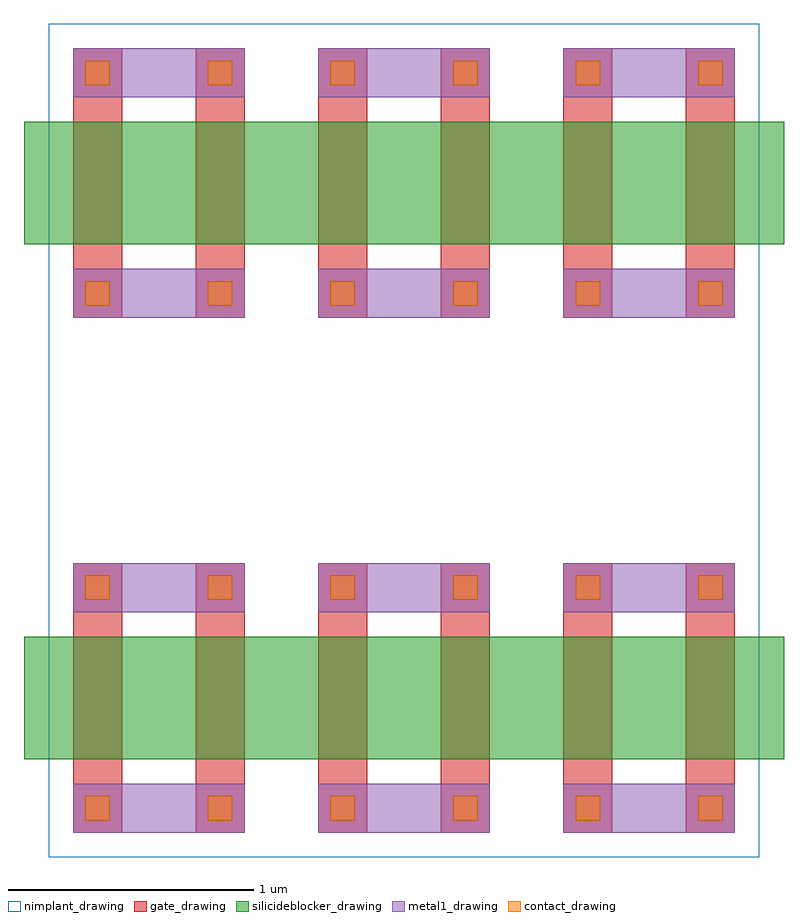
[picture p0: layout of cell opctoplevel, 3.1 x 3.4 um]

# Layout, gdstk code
import gdstk
lib = gdstk.Library(unit=1e-6, precision=1e-09)
def R(c, l, rs):  # rectangles x0, y0, x1, y1
    for r in rs: c.add(gdstk.rectangle(r[:2], r[2:], *l))
def A(c, l, x, y, w, h, nx, ny, dx, dy):  # array of equal rectangles
    R(c, l, [(x+i*dx, y+j*dy, x+i*dx+w, y+j*dy+h) for i in range(nx) for j in range(ny)])
nimplant_drawing = (5, 0)
gate_drawing = (6, 0)
contact_drawing = (7, 0)
metal1_drawing = (8, 0)
silicideblocker_drawing = (28, 0)

opctoplevel = lib.new_cell('opctoplevel')
R(opctoplevel, nimplant_drawing, [(-0.1,-0.1,2.8,3.3)])
A(opctoplevel, gate_drawing, 0, 0, 0.2, 1.1, 6, 2, 0.5, 2.1)
A(opctoplevel, gate_drawing, 0, 0, 0.2, 0.2, 6, 2, 0.5, 0.9)
A(opctoplevel, gate_drawing, 0, 2.1, 0.2, 0.2, 6, 2, 0.5, 0.9)
A(opctoplevel, contact_drawing, 0.05, 0.05, 0.1, 0.1, 6, 2, 0.5, 0.9)
A(opctoplevel, contact_drawing, 0.05, 2.15, 0.1, 0.1, 6, 2, 0.5, 0.9)
A(opctoplevel, metal1_drawing, 0, 0, 0.2, 0.2, 6, 2, 0.5, 0.9)
A(opctoplevel, metal1_drawing, 0, 0, 0.7, 0.2, 3, 2, 1, 0.9)
A(opctoplevel, metal1_drawing, 0, 2.1, 0.2, 0.2, 6, 2, 0.5, 0.9)
A(opctoplevel, metal1_drawing, 0, 2.1, 0.7, 0.2, 3, 2, 1, 0.9)
R(opctoplevel, silicideblocker_drawing, [(-0.2,0.3,2.9,0.8), (-0.2,2.4,2.9,2.9)])

lib.write_gds('opctoplevel.gds')
